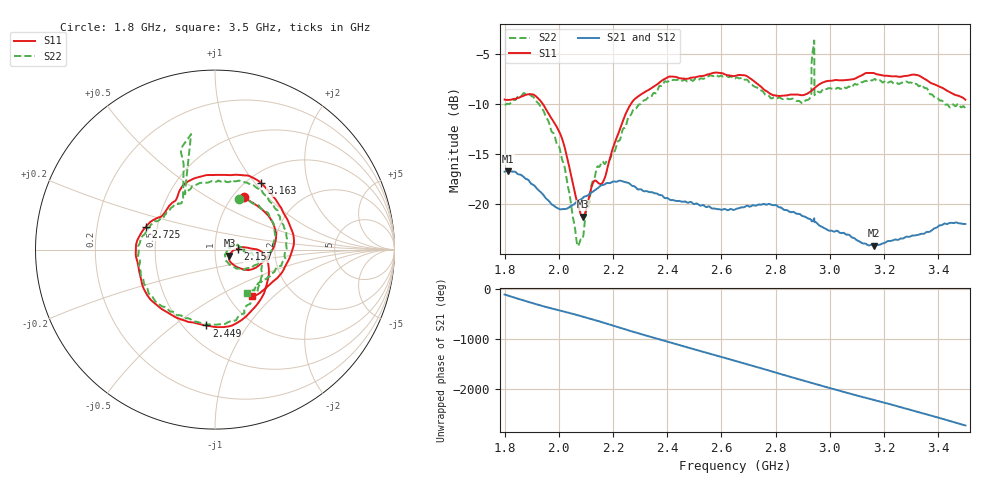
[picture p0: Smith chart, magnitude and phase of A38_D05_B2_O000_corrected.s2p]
! Created with skrf 1.9.0 (http://scikit-rf.org).
# Hz S RI R 50.0
!freq ReS11 ImS11 ReS21 ImS21 ReS12 ImS12 ReS22 ImS22
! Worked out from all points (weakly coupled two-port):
!   1601 points, 1.8 GHz to 3.5 GHz, reference 50 ohm
!   highest |S21| = -16.66 dB at 1.812 GHz (marker M1); lowest = -24.1 dB at 3.161 GHz (marker M2)
!   lowest |S11| = -21.2 dB at 2.089 GHz (marker M3), VSWR 1.19, Z = 58.6 - j3.88 ohm
!   |S11| at or under -10 dB: 1.942 GHz to 2.265 GHz (323.6 MHz wide, 15.4 % of centre)
!   |S22| runs from -24.2 to -3.6 dB; largest |S21 - S12| = 0.0027
!   S11 on the Smith chart (normalised r, x): 1.8 GHz: 1.12, +0.74; 2.157 GHz: 1.29, +0.01; 2.449 GHz: 0.64, -0.66; 2.725 GHz: 0.43, +0.13; 3.163 GHz: 1.16, +1.08; 3.5 GHz: 1.27, -0.75
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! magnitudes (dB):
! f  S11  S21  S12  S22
! 1.8 GHz  -9.5  -16.7  -16.7  -10.1
! 1.812 GHz  -9.6  -16.7  -16.7  -10.0
! 1.941 GHz  -10.0  -19.0  -19.0  -10.6
! 2.011 GHz  -13.4  -20.5  -20.5  -15.5
! 2.066 GHz  -19.6  -19.7  -19.7  -23.7
! 2.084 GHz  -21.1  -19.4  -19.4  -23.5
! 2.089 GHz  -21.2  -19.3  -19.4  -23.3
! 2.127 GHz  -17.8  -18.7  -18.7  -17.7
! 2.157 GHz  -17.9  -18.1  -18.1  -15.8
! 2.261 GHz  -10.2  -17.9  -17.9  -11.1
! 2.367 GHz  -7.9  -19.0  -18.9  -8.4
! 2.449 GHz  -7.4  -19.7  -19.7  -7.5
! 2.65 GHz  -7.2  -20.5  -20.5  -7.5
! 2.725 GHz  -7.8  -20.1  -20.1  -8.3
! 2.901 GHz  -9.1  -21.2  -21.2  -9.9
! 2.923 GHz  -8.9  -21.4  -21.4  -9.5
! 2.934 GHz  -8.6  -21.7  -21.7  -5.5
! 2.952 GHz  -8.2  -21.8  -21.8  -8.8
! 3.161 GHz  -6.9  -24.1  -24.0  -7.6
! 3.163 GHz  -6.9  -24.1  -24.0  -7.5
! 3.217 GHz  -7.2  -23.6  -23.6  -7.8
! 3.5 GHz  -9.6  -21.9  -21.9  -10.4
